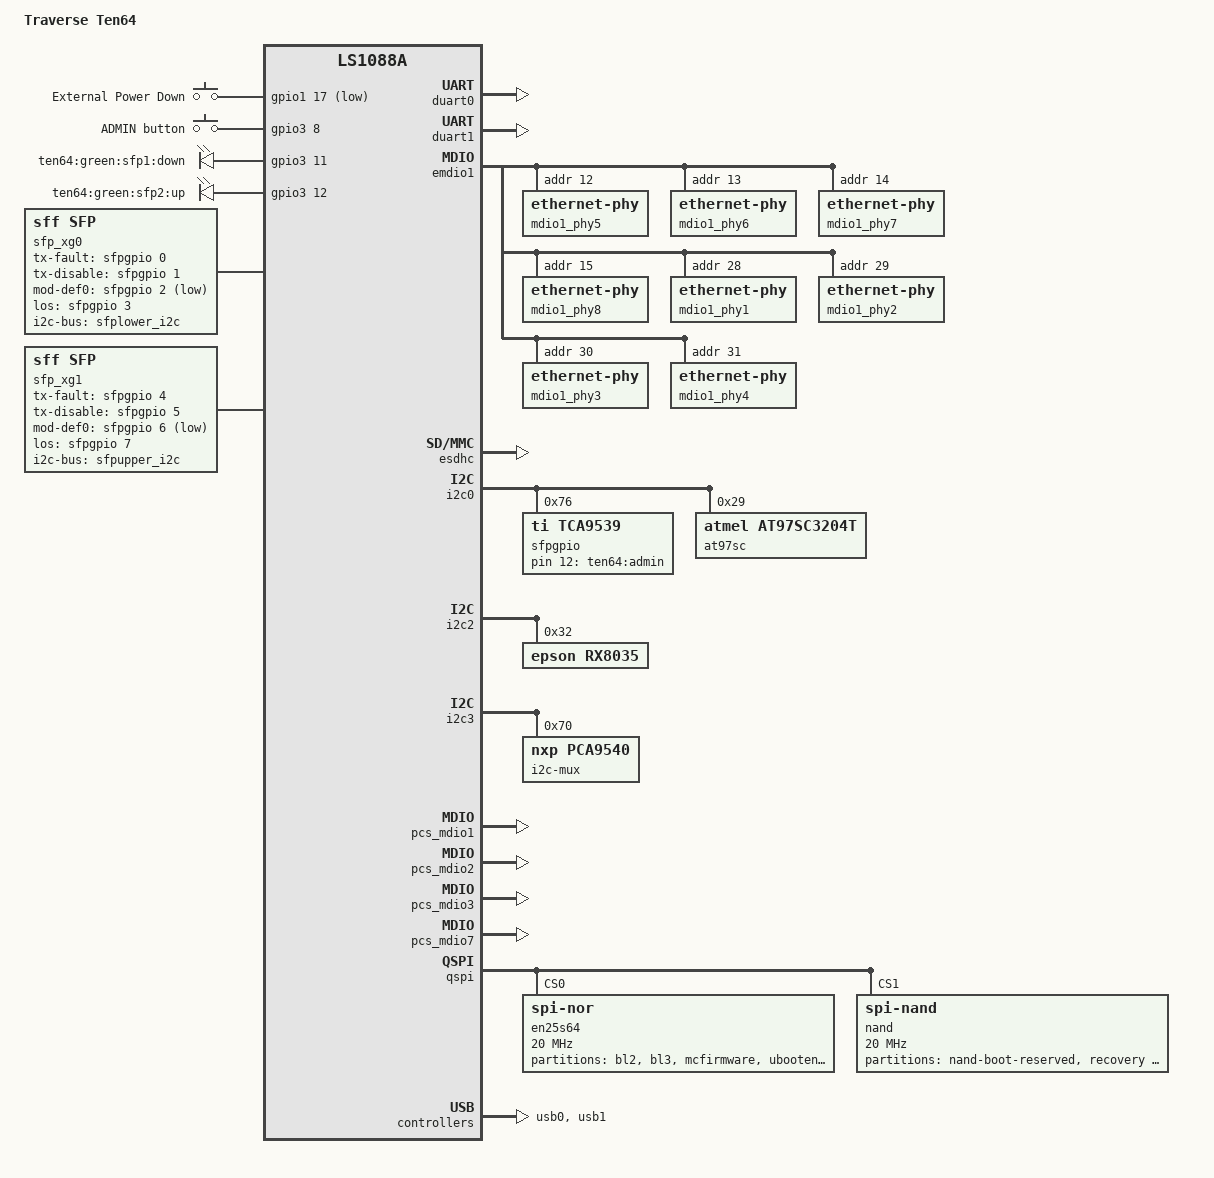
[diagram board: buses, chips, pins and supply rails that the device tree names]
// SPDX-License-Identifier: (GPL-2.0+ OR MIT)
/*
 * Device Tree file for Travese Ten64 (LS1088) board
 * Based on fsl-ls1088a-rdb.dts
 * Copyright 2017-2020 NXP
 * Copyright 2019-2021 Traverse Technologies
 *
 * Author: Mathew McBride <matt@traverse.com.au>
 */

/dts-v1/;

#include "fsl-ls1088a.dtsi"

#include <dt-bindings/gpio/gpio.h>
#include <dt-bindings/input/input.h>

/ {
	model = "Traverse Ten64";
	compatible = "traverse,ten64", "fsl,ls1088a";

	aliases {
		serial0 = &duart0;
		serial1 = &duart1;
	};

	chosen {
		stdout-path = "serial0:115200n8";
	};

	buttons {
		compatible = "gpio-keys";

		/* Fired by system controller when
		 * external power off (e.g ATX Power Button)
		 * asserted
		 */
		button-powerdn {
			label = "External Power Down";
			gpios = <&gpio1 17 GPIO_ACTIVE_LOW>;
			linux,code = <KEY_POWER>;
		};

		/* Rear Panel 'ADMIN' button (GPIO_H) */
		button-admin {
			label = "ADMIN button";
			gpios = <&gpio3 8 GPIO_ACTIVE_HIGH>;
			linux,code = <KEY_WPS_BUTTON>;
		};
	};

	leds {
		compatible = "gpio-leds";

		led-0 {
			label = "ten64:green:sfp1:down";
			gpios = <&gpio3 11 GPIO_ACTIVE_HIGH>;
		};

		led-1 {
			label = "ten64:green:sfp2:up";
			gpios = <&gpio3 12 GPIO_ACTIVE_HIGH>;
		};

		led-2 {
			label = "ten64:admin";
			gpios = <&sfpgpio 12 GPIO_ACTIVE_HIGH>;
		};
	};

	sfp_xg0: dpmac2-sfp {
		compatible = "sff,sfp";
		i2c-bus = <&sfplower_i2c>;
		tx-fault-gpios = <&sfpgpio 0 GPIO_ACTIVE_HIGH>;
		tx-disable-gpios = <&sfpgpio 1 GPIO_ACTIVE_HIGH>;
		mod-def0-gpios = <&sfpgpio 2 GPIO_ACTIVE_LOW>;
		los-gpios = <&sfpgpio 3 GPIO_ACTIVE_HIGH>;
		maximum-power-milliwatt = <2000>;
	};

	sfp_xg1: dpmac1-sfp {
		compatible = "sff,sfp";
		i2c-bus = <&sfpupper_i2c>;
		tx-fault-gpios = <&sfpgpio 4 GPIO_ACTIVE_HIGH>;
		tx-disable-gpios = <&sfpgpio 5 GPIO_ACTIVE_HIGH>;
		mod-def0-gpios = <&sfpgpio 6 GPIO_ACTIVE_LOW>;
		los-gpios = <&sfpgpio 7 GPIO_ACTIVE_HIGH>;
		maximum-power-milliwatt = <2000>;
	};
};

/* XG1 - Upper SFP */
&dpmac1 {
	sfp = <&sfp_xg1>;
	pcs-handle = <&pcs1>;
	phy-connection-type = "10gbase-r";
	managed = "in-band-status";
};

/* XG0 - Lower SFP */
&dpmac2 {
	sfp = <&sfp_xg0>;
	pcs-handle = <&pcs2>;
	phy-connection-type = "10gbase-r";
	managed = "in-band-status";
};

/* DPMAC3..6 is GE4 to GE8 */
&dpmac3 {
	phy-handle = <&mdio1_phy5>;
	phy-connection-type = "qsgmii";
	managed = "in-band-status";
	pcs-handle = <&pcs3_0>;
};

&dpmac4 {
	phy-handle = <&mdio1_phy6>;
	phy-connection-type = "qsgmii";
	managed = "in-band-status";
	pcs-handle = <&pcs3_1>;
};

&dpmac5 {
	phy-handle = <&mdio1_phy7>;
	phy-connection-type = "qsgmii";
	managed = "in-band-status";
	pcs-handle = <&pcs3_2>;
};

&dpmac6 {
	phy-handle = <&mdio1_phy8>;
	phy-connection-type = "qsgmii";
	managed = "in-band-status";
	pcs-handle = <&pcs3_3>;
};

/* DPMAC7..10 is GE0 to GE3 */
&dpmac7 {
	phy-handle = <&mdio1_phy1>;
	phy-connection-type = "qsgmii";
	managed = "in-band-status";
	pcs-handle = <&pcs7_0>;
};

&dpmac8 {
	phy-handle = <&mdio1_phy2>;
	phy-connection-type = "qsgmii";
	managed = "in-band-status";
	pcs-handle = <&pcs7_1>;
};

&dpmac9 {
	phy-handle = <&mdio1_phy3>;
	phy-connection-type = "qsgmii";
	managed = "in-band-status";
	pcs-handle = <&pcs7_2>;
};

&dpmac10 {
	phy-handle = <&mdio1_phy4>;
	phy-connection-type = "qsgmii";
	managed = "in-band-status";
	pcs-handle = <&pcs7_3>;
};

&duart0 {
	status = "okay";
};

&duart1 {
	status = "okay";
};

&emdio1 {
	status = "okay";

	mdio1_phy5: ethernet-phy@c {
		reg = <0xc>;
	};

	mdio1_phy6: ethernet-phy@d {
		reg = <0xd>;
	};

	mdio1_phy7: ethernet-phy@e {
		reg = <0xe>;
	};

	mdio1_phy8: ethernet-phy@f {
		reg = <0xf>;
	};

	mdio1_phy1: ethernet-phy@1c {
		reg = <0x1c>;
	};

	mdio1_phy2: ethernet-phy@1d {
		reg = <0x1d>;
	};

	mdio1_phy3: ethernet-phy@1e {
		reg = <0x1e>;
	};

	mdio1_phy4: ethernet-phy@1f {
		reg = <0x1f>;
	};
};

&esdhc {
	status = "okay";
};

&i2c0 {
	status = "okay";

	sfpgpio: gpio@76 {
		compatible = "ti,tca9539";
		reg = <0x76>;
		#gpio-cells = <2>;
		gpio-controller;

		admin_led_lower {
			gpio-hog;
			gpios = <13 GPIO_ACTIVE_HIGH>;
			output-low;
		};
	};

	at97sc: tpm@29 {
		compatible = "atmel,at97sc3204t";
		reg = <0x29>;
	};
};

&i2c2 {
	status = "okay";

	rx8035: rtc@32 {
		compatible = "epson,rx8035";
		reg = <0x32>;
	};
};

&i2c3 {
	status = "okay";

	i2c-mux@70 {
		compatible = "nxp,pca9540";
		#address-cells = <1>;
		#size-cells = <0>;
		reg = <0x70>;

		sfpupper_i2c: i2c@0 {
			#address-cells = <1>;
			#size-cells = <0>;
			reg = <0>;
		};

		sfplower_i2c: i2c@1 {
			#address-cells = <1>;
			#size-cells = <0>;
			reg = <1>;
		};
	};
};

&pcs_mdio1 {
	status = "okay";
};

&pcs_mdio2 {
	status = "okay";
};

&pcs_mdio3 {
	status = "okay";
};

&pcs_mdio7 {
	status = "okay";
};

&qspi {
	status = "okay";

	en25s64: flash@0 {
		compatible = "jedec,spi-nor";
		#address-cells = <1>;
		#size-cells = <1>;
		reg = <0>;
		spi-max-frequency = <20000000>;
		spi-rx-bus-width = <4>;
		spi-tx-bus-width = <4>;

		partitions {
			compatible = "fixed-partitions";
			#address-cells = <1>;
			#size-cells = <1>;

			partition@0 {
				label = "bl2";
				reg = <0 0x100000>;
			};

			partition@100000 {
				label = "bl3";
				reg = <0x100000 0x200000>;
			};

			partition@300000 {
				label = "mcfirmware";
				reg = <0x300000 0x200000>;
			};

			partition@500000 {
				label = "ubootenv";
				reg = <0x500000 0x80000>;
			};

			partition@580000 {
				label = "dpl";
				reg = <0x580000 0x40000>;
			};

			partition@5C0000 {
				label = "dpc";
				reg = <0x5C0000 0x40000>;
			};

			partition@600000 {
				label = "devicetree";
				reg = <0x600000 0x40000>;
			};
		};
	};

	nand: flash@1 {
		compatible = "spi-nand";
		#address-cells = <1>;
		#size-cells = <1>;
		reg = <1>;
		spi-max-frequency = <20000000>;
		spi-rx-bus-width = <4>;
		spi-tx-bus-width = <4>;

		partitions {
			compatible = "fixed-partitions";
			#address-cells = <1>;
			#size-cells = <1>;

			/* reserved for future boot direct from NAND flash
			 * (this would use the same layout as the 8MiB NOR flash)
			 */
			partition@0 {
				label = "nand-boot-reserved";
				reg = <0 0x800000>;
			};

			/* recovery / install environment */
			partition@800000 {
				label = "recovery";
				reg = <0x800000 0x2000000>;
			};

			/* ubia (first OpenWrt) - a/b names to prevent confusion with ubi0/1/etc. */
			partition@2800000 {
				label = "ubia";
				reg = <0x2800000 0x6C00000>;
			};

			/* ubib (second OpenWrt) */
			partition@9400000 {
				label = "ubib";
				reg = <0x9400000 0x6C00000>;
			};
		};
	};
};

&usb0 {
	status = "okay";
};

&usb1 {
	status = "okay";
};
